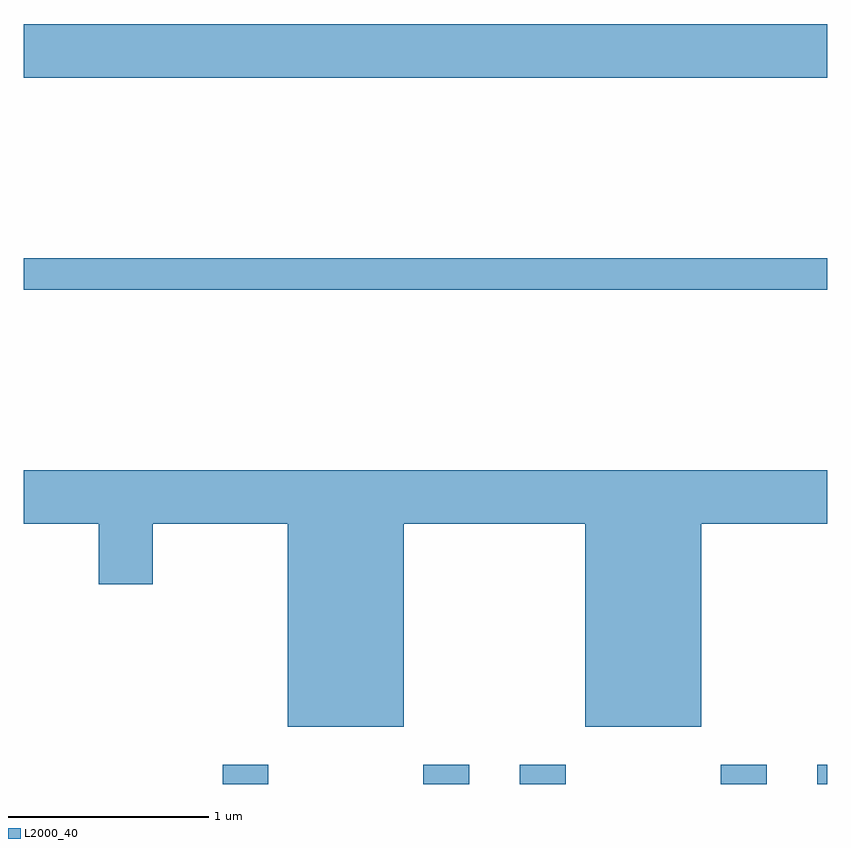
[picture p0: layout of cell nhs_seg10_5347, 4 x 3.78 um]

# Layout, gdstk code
import gdstk
lib = gdstk.Library(unit=1e-6, precision=1e-09)
def R(c, l, rs):  # rectangles x0, y0, x1, y1
    for r in rs: c.add(gdstk.rectangle(r[:2], r[2:], *l))
def P(c, l, *ps):  # polygons
    for p in ps: c.add(gdstk.Polygon(p, *l))
L2000_40 = (2000, 40)

nhs_seg10_5347 = lib.new_cell('nhs_seg10_5347')
R(nhs_seg10_5347, L2000_40, [(342.601,2212.522,342.829,2212.619), (343.601,2212.522,343.829,2212.619), (344.081,2212.522,344.309,2212.619), (345.081,2212.522,345.309,2212.619), (345.561,2212.522,345.611,2212.619), (341.611,2214.981,345.611,2215.139), (341.611,2216.036,345.611,2216.304)])
P(nhs_seg10_5347, L2000_40, [(343.504,2213.816),(344.406,2213.816),(344.406,2212.806),(344.984,2212.806),(344.984,2213.816),(345.611,2213.816),(345.611,2214.084),(341.611,2214.084),(341.611,2213.816),(341.986,2213.816),(341.986,2213.516),(342.254,2213.516),(342.254,2213.816),(342.926,2213.816),(342.926,2212.806),(343.504,2212.806)])

lib.write_gds('nhs_seg10_5347.gds')
